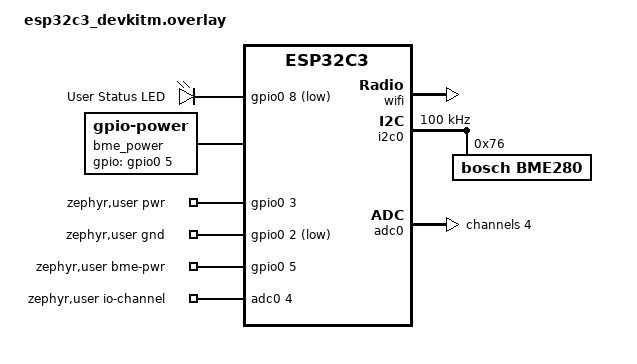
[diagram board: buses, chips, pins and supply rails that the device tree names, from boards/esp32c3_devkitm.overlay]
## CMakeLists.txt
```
cmake_minimum_required(VERSION 3.20.0)
set(CONF_FILE prj.conf ../lib/common.conf)

find_package(Zephyr REQUIRED HINTS $ENV{ZEPHYR_BASE})
project(esp32_wifi)


set(APP_SOURCES
    src/main.c
    src/moisture.c
    src/room.c
)

set(LIB_SOURCES
    ../lib/http_get.c
    ../lib/mqtt.c
    ../lib/ping.c
    ../lib/wifi.c
)

target_sources(app PRIVATE ${APP_SOURCES} ${LIB_SOURCES})
target_include_directories(app PRIVATE ../lib)

add_compile_options(-Wno-gcc-extension -Wno-extension)
```

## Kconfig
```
config WIFI_SSID
    string "WiFi SSID"
    default "your_ssid_here"
    help
        The SSID of the WiFi network to connect to.

config WIFI_PSK
    string "WiFi Password"
    default "your_password_here"
    help
        The password for the WiFi network.

config MQTT_SERVER_ADDR
    string "MQTT Server Address"
    default "192.168.178.30"
    help
        The IP address or hostname of the MQTT broker.

config MQTT_SERVER_PORT
    int "MQTT Server Port"
    default 1883
    help
        The port number of the MQTT broker.

config MQTT_CLIENT_ID
    string "MQTT Client ID"
    default "zephyr_publisher"
    help
        The client ID to use when connecting to the MQTT broker.

config MQTT_CONNECT_TIMEOUT_MS
    int "MQTT Connect Timeout (ms)"
    default 2000
    help
        Timeout in milliseconds for MQTT connection attempts.

config MQTT_CONNECT_TRIES
    int "MQTT Connect Tries"
    default 10
    help
        Number of connection attempts before giving up.

config MQTT_BUFFER_SIZE
    int "MQTT Buffer Size"
    default 128
    help
        Size of the MQTT RX and TX buffers in bytes.
    
config MOISTURE_SENSOR
    bool "Moisture Sensor"
    default y
    help
        Enable support for the moisture sensor.

config ROOM_SENSOR
    bool "Room Sensor"
    default y
    help
        Enable support for the room sensor. 

source "Kconfig.zephyr"
```

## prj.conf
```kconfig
CONFIG_MQTT_CLIENT_ID="SmartProbe1"
CONFIG_ADC=y

CONFIG_FLASH=y
CONFIG_FLASH_PAGE_LAYOUT=y
CONFIG_FLASH_MAP=y
CONFIG_NVS=y
CONFIG_MPU_ALLOW_FLASH_WRITE=y

CONFIG_I2C=y
CONFIG_SENSOR=y
CONFIG_BME280=y 
CONFIG_I2C_LOG_LEVEL_DBG=y

CONFIG_MOISTURE_SENSOR=y
CONFIG_ROOM_SENSOR=y
CONFIG_SENSOR_LOG_LEVEL_DBG=y

CONFIG_WIFI_SSID="GreenWall"
CONFIG_WIFI_PSK="83RatherMauspfad83DL"
```

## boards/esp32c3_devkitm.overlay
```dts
&wifi {
	status = "okay";
};

/ {
    aliases {
        led0 = &status_led;
        bme280 = &bme280;
        bmepwr = &bme_power;
    };

    leds {
        compatible = "gpio-leds";
        status_led: led_0 {
            /* GPIO8 is on the gpio0 controller */
            /* GPIO_ACTIVE_LOW matches your physical wiring (+3.3V source) */
            gpios = <&gpio0 8 GPIO_ACTIVE_LOW>;
            label = "User Status LED";
        };
    };

    bme_power: bme_power {
        compatible = "gpio-power";
        gpios = <&gpio0 5 GPIO_ACTIVE_HIGH>;
    };
};

&pinctrl {
    i2c0_default: i2c0_default {
        group1 {
            pinmux = <I2C0_SDA_GPIO10>,
                     <I2C0_SCL_GPIO7>;
            bias-pull-up;
            drive-open-drain;
            output-high;
        };
    };
};

&i2c0 {
    status = "okay";
    pinctrl-0 = <&i2c0_default>;
    clock-frequency = <I2C_BITRATE_STANDARD>;
    
    bme280: bme280@76 {
        compatible = "bosch,bme280";
        reg = <0x76>;  /* Or 0x77 depending on your module's SDO pin */
        status = "okay";
    };
};

/ {
    zephyr,user {
        /* IO4 (Pin 18) is ADC1 Channel 4 */
        io-channels = <&adc0 4>; 
        /* IO3 (Pin 6) for VCC control */
        pwr-gpios = <&gpio0 3 GPIO_ACTIVE_HIGH>;
        /* IO2 (Pin 5) for software GND */
        gnd-gpios = <&gpio0 2 GPIO_ACTIVE_LOW>; 

        bme-pwr-gpios = <&gpio0 5 GPIO_ACTIVE_HIGH>;
    };
};

/* Use SAR ADC1 (adc0) which is defined and factory calibrated */
&adc0 {
    status = "okay";
    #address-cells = <1>;
    #size-cells = <0>;

    channel@4 {
        reg = <4>; /* ADC1_CH4 on IO4 */
        zephyr,gain = "ADC_GAIN_1_4";      /* Range for 0-3.0V sensor output */
        zephyr,reference = "ADC_REF_INTERNAL";
        zephyr,acquisition-time = <ADC_ACQ_TIME_DEFAULT>;
        zephyr,resolution = <12>;
    };
};

&gpio0 {
    status = "okay";
};
```

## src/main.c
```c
#include <zephyr/kernel.h>
#include <zephyr/net/net_if.h>
#include <zephyr/net/wifi_mgmt.h>
#include <zephyr/net/net_event.h>
#include <errno.h>
#include <string.h>
#include "ping.h"
#include "wifi.h"
#include "mqtt.h"
#include <zephyr/sys/poweroff.h>
#include <esp_sleep.h>
#include "moisture.h"
#include "room.h"
#include "sensor_module.h"
#include <zephyr/logging/log.h>
#include <zephyr/pm/pm.h>
#include <zephyr/pm/device.h>
#include <zephyr/pm/policy.h>
#include <zephyr/drivers/gpio.h>

LOG_MODULE_REGISTER(main, LOG_LEVEL_INF);

#define LED_BLINK_DELAY_MS	500
#define MQTT_DISCONNECT_DELAY_MS	1000
#define DEEP_SLEEP_DURATION_SEC	60

static const struct gpio_dt_spec led = GPIO_DT_SPEC_GET(DT_ALIAS(led0), gpios);

const struct pm_state_info *pm_policy_next_state(uint8_t cpu, int32_t ticks)
{
    /* Returning NULL tells the kernel: "Do not enter any sleep state" */
    /* This keeps the CPU and WiFi radio fully powered. */
    return NULL;
}

void enter_deep_sleep(uint32_t seconds) {
    esp_sleep_enable_timer_wakeup(seconds * 1000000ULL);
    
    sys_poweroff();
    
    k_sleep(K_FOREVER);
}

int init_led(void) {
    if (!gpio_is_ready_dt(&led)) {
        return -ENODEV;
    }

    /* Configure as output, start in the logically INACTIVE state (LED OFF) */
    return gpio_pin_configure_dt(&led, GPIO_OUTPUT_INACTIVE);
}

void blink_led(int times, int delay_ms) {
    for (int i = 0; i < times; i++) {
        gpio_pin_toggle_dt(&led);
        k_msleep(delay_ms);
    }
}

static const struct sensor_module sensors[] = {
#ifdef CONFIG_MOISTURE_SENSOR
    {
        .key = "soil",
        .label = "Soil",
        .unit = "%",
        .init = moisture_init,
        .read = moisture_read_percent,
        .err_value = MOISTURE_ERROR_VALUE,
    },
#endif
#ifdef CONFIG_ROOM_SENSOR
    {
        .key = "temp",
        .label = "Temperature",
        .unit = "C°",
        .init = room_init,
        .read = room_read_temperature,
        .err_value = ROOM_ERROR_VALUE,
    },
    {
        .key = "press",
        .label = "Pressure",
        .unit = "kPa",
        .init = room_init,
        .read = room_read_pressure,
        .err_value = ROOM_ERROR_VALUE,
    },
    {
        .key = "hum",
        .label = "Humidity",
        .unit = "%",
        .init = room_init,
        .read = room_read_humidity,
        .err_value = ROOM_ERROR_VALUE,
    },
#endif
};

static int initialize_sensors(void)
{
    for (size_t i = 0; i < ARRAY_SIZE(sensors); i++) {
        if (sensors[i].init) {
            int err = sensors[i].init();
            if (err != 0) {
                LOG_ERR("Sensor %s init failed: %d", sensors[i].key, err);
                return err;
            }
        }
    }
    return 0;
}

static enum sensor_e sensor_key_to_enum(const char *key)
{
    if (strcmp(key, "soil") == 0) {
        return SENSOR_SOIL;
    }
    if (strcmp(key, "temp") == 0) {
        return SENSOR_TEMP;
    }
    if (strcmp(key, "press") == 0) {
        return SENSOR_PRESS;
    }
    if (strcmp(key, "hum") == 0) {
        return SENSOR_HUM;
    }

    return 0;
}

static void read_and_publish_sensors(void)
{
    for (size_t i = 0; i < ARRAY_SIZE(sensors); i++) {
        float value;
        int err = sensors[i].read(&value);
        if (err != 0 || value == sensors[i].err_value) {
            LOG_ERR("Failed to read %s sensor: %d", sensors[i].key, err);
            continue;
        }

        enum sensor_e sensor_id = sensor_key_to_enum(sensors[i].key);
        if (sensor_id == 0) {
            LOG_ERR("Unknown sensor key for MQTT publish: %s", sensors[i].key);
            continue;
        }

        if (mqtt_service_publish_sensor(sensor_id, value) != 0) {
            LOG_ERR("MQTT publish failed for %s", sensors[i].key);
            blink_led(4, 2000);
        }
    }
}

int main(void)
{
    pm_policy_state_lock_get(PM_STATE_SUSPEND_TO_IDLE, PM_ALL_SUBSTATES);
    pm_policy_state_lock_get(PM_STATE_STANDBY, PM_ALL_SUBSTATES);
    
    if (init_led() != 0) {
        LOG_ERR("Failed to init LED");
        goto cleanup;
    }

    if (wifi_init() != 0) {
        LOG_ERR("WiFi init failed");
        blink_led(10, LED_BLINK_DELAY_MS);
        goto cleanup;
    }

    if (wifi_connect() != 0) {
        LOG_ERR("WiFi connect failed");
        blink_led(10, LED_BLINK_DELAY_MS);
        goto cleanup;
    }

    if(wifi_wait_for_connect()) {
        LOG_ERR("Connection failed");
        blink_led(10, LED_BLINK_DELAY_MS);
        goto cleanup;
    }

    if (wifi_status() != 0) {
        LOG_ERR("WiFi status failed");
        blink_led(10, LED_BLINK_DELAY_MS);
        goto cleanup;
    }

    if (wifi_wait_for_ipv4()) {
        LOG_ERR("IPV4 failed");
        blink_led(10, LED_BLINK_DELAY_MS);
        goto cleanup;
    }
    LOG_INF("Ready...");

    ping("192.168.178.30", 4);

    if (mqtt_service_init() != 0) {
        LOG_ERR("MQTT init failed");
        blink_led(5, MQTT_DISCONNECT_DELAY_MS);
        goto cleanup;
    }

    if (mqtt_service_connect() != 0) {
        LOG_ERR("MQTT connect failed");
        blink_led(5, MQTT_DISCONNECT_DELAY_MS);
        goto cleanup;
    }

    if (initialize_sensors() != 0) {
        LOG_ERR("Sensor initialization failed");
        blink_led(5, MQTT_DISCONNECT_DELAY_MS);
        goto cleanup;
    }

    read_and_publish_sensors();

    k_sleep(K_SECONDS(1));
    mqtt_service_disconnect();
    wifi_disconnect();

cleanup:
    pm_policy_state_lock_put(PM_STATE_SUSPEND_TO_IDLE, PM_ALL_SUBSTATES);
    enter_deep_sleep(DEEP_SLEEP_DURATION_SEC);
    return 0;
}
```

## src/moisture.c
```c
#include <errno.h>
#include <zephyr/kernel.h>
#include <zephyr/logging/log.h>
LOG_MODULE_REGISTER(moisture, LOG_LEVEL_INF);
#include <zephyr/drivers/adc.h>
#include <zephyr/drivers/gpio.h>
#include <zephyr/drivers/flash.h>
#include <zephyr/storage/flash_map.h>
#include <zephyr/fs/nvs.h>
#include "moisture.h"

#define CALIBRATION_ID			1
#define MOISTURE_POWER_DELAY_MS		500
#define CALIBRATION_DELAY_SEC		10

/* Get references from the overlay */
static const struct gpio_dt_spec pwr_gpio = GPIO_DT_SPEC_GET(DT_PATH(zephyr_user), pwr_gpios);
static const struct gpio_dt_spec gnd_gpio = GPIO_DT_SPEC_GET(DT_PATH(zephyr_user), gnd_gpios);
static const struct adc_dt_spec adc_chan = ADC_DT_SPEC_GET_BY_IDX(DT_PATH(zephyr_user), 0);

struct persistent_data {
    int32_t cal_dry_raw;
    int32_t cal_wet_raw;
};

struct persistent_data rtc_data;

static struct nvs_fs fs;

void init_nvs(void) {
    int rc;
    struct flash_pages_info info;

    /* Define the flash partition to use (storage_partition is default on ESP32) */
    fs.flash_device = FIXED_PARTITION_DEVICE(storage_partition);
    if (!device_is_ready(fs.flash_device)) {
        LOG_ERR("Flash device not ready");
        return;
    }

    fs.offset = FIXED_PARTITION_OFFSET(storage_partition);
    rc = flash_get_page_info_by_offs(fs.flash_device, fs.offset, &info);
    if (rc) {
        LOG_ERR("Unable to get page info: %d", rc);
        return;
    }

    fs.sector_size = info.size;
    fs.sector_count = 3; // Use 3 sectors for wear leveling

    rc = nvs_mount(&fs);
    if (rc == -EEXIST) {
        return;
    }
    if (rc) {
        LOG_ERR("Flash init failed: %d", rc);
    }
}

void save_calibration(struct persistent_data *data) {
    nvs_write(&fs, CALIBRATION_ID, data, sizeof(struct persistent_data));
}

void load_calibration(struct persistent_data *data) {
    int rc = nvs_read(&fs, CALIBRATION_ID, data, sizeof(struct persistent_data));
    if (rc <= 0) {
        LOG_INF("No calibration found, setting defaults");
        data->cal_dry_raw = -1;
        data->cal_wet_raw = -1;
    } else {
        LOG_INF("Loaded: Dry=%d, Wet=%d", data->cal_dry_raw, data->cal_wet_raw);
    }
}

static int read_moisture(void) {
    int16_t buf;
    struct adc_sequence sequence = {
        .buffer = &buf,
        .buffer_size = sizeof(buf),
    };

    gpio_pin_set_dt(&pwr_gpio, 1);
    k_msleep(MOISTURE_POWER_DELAY_MS);

    adc_sequence_init_dt(&adc_chan, &sequence);
    int err = adc_read(adc_chan.dev, &sequence);
    
    gpio_pin_set_dt(&pwr_gpio, 0);

    if (err) { return err; }

    return (int)buf;
}

void moisture_calibrate(enum moisture_cal_type type) {
    int raw_val = read_moisture();
    
    if (raw_val < 0) {
        LOG_ERR("Failed to read sensor for calibration");
        return;
    }

    if (type == MOISTURE_CAL_DRY) {
        rtc_data.cal_dry_raw = raw_val;
    } else {
        rtc_data.cal_wet_raw = raw_val;
    }
}

int moisture_read_percent(float *value) {
    int raw = read_moisture();
    if (raw < 0) {
        return raw;
    }

    if (rtc_data.cal_dry_raw == -1 || rtc_data.cal_wet_raw == -1) {
        LOG_WRN("Missing calibration. Set both DRY and WET points.");
        return -EIO;
    }

    if (raw > rtc_data.cal_dry_raw || raw < rtc_data.cal_wet_raw) {
        LOG_WRN("Measured raw value %d is outside calibration range [%d, %d]",
                raw, rtc_data.cal_wet_raw, rtc_data.cal_dry_raw);
    }

    int32_t range = rtc_data.cal_dry_raw - rtc_data.cal_wet_raw;
    if (range <= 0) {
        LOG_ERR("Invalid calibration range: Dry must be > Wet");
        return -EINVAL;
    }

    int32_t percentage = ((rtc_data.cal_dry_raw - raw) * 100) / range;

    if (percentage < 0) {
        percentage = 0;
        LOG_WRN("Measured value is below min value: %d, Measured: %d, Dry: %d, Wet: %d",
                percentage, raw, rtc_data.cal_dry_raw, rtc_data.cal_wet_raw);
    }
    if (percentage > 100) {
        percentage = 100;
        LOG_WRN("Measured value is above max value: %d, Measured: %d, Dry: %d, Wet: %d",
                percentage, raw, rtc_data.cal_dry_raw, rtc_data.cal_wet_raw);
    }

    *value = (float)percentage;
    return 0;
}

int moisture_init(void) {
    gpio_pin_configure_dt(&gnd_gpio, GPIO_OUTPUT_ACTIVE);
    gpio_pin_configure_dt(&pwr_gpio, GPIO_OUTPUT_INACTIVE);

    gpio_pin_set_dt(&pwr_gpio, 1);

    if (!device_is_ready(adc_chan.dev)) {
        LOG_ERR("ADC device not ready");
        return -1;
    }

    int err = adc_channel_setup_dt(&adc_chan);
    if (err) {
        LOG_ERR("Failed to setup ADC channel (err %d)", err);
        return -1;
    }

    init_nvs();
    load_calibration(&rtc_data);

    if (rtc_data.cal_dry_raw == -1 || rtc_data.cal_wet_raw == -1) {
        LOG_INF("No valid calibration found. Starting calibration. Dry in %d seconds", CALIBRATION_DELAY_SEC);
        k_sleep(K_SECONDS(CALIBRATION_DELAY_SEC));
        moisture_calibrate(MOISTURE_CAL_DRY);
        LOG_INF("No valid calibration found. Starting calibration. Wet in %d seconds", CALIBRATION_DELAY_SEC);
        k_sleep(K_SECONDS(CALIBRATION_DELAY_SEC));
        moisture_calibrate(MOISTURE_CAL_WET);
        save_calibration(&rtc_data);
    }

    return 0;
}
```

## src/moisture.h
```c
enum moisture_cal_type {
    MOISTURE_CAL_DRY,
    MOISTURE_CAL_WET
};

#define MOISTURE_ERROR_VALUE -1

void moisture_calibrate(enum moisture_cal_type type);
int moisture_read_percent(float *value);
int moisture_init(void);
```

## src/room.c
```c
#include <zephyr/kernel.h>
#include <zephyr/device.h>
#include <zephyr/drivers/gpio.h>
#include <zephyr/drivers/sensor.h>
#include <zephyr/drivers/sensor_data_types.h>
#include <zephyr/logging/log.h>

#include "room.h"

LOG_MODULE_REGISTER(room, LOG_LEVEL_INF);

static const struct gpio_dt_spec bmepwr = GPIO_DT_SPEC_GET(DT_PATH(zephyr_user), bme_pwr_gpios);
static const struct device *const dev = DEVICE_DT_GET(DT_ALIAS(bme280));
static bool initialized;

static int fetch_sensor_channel(enum sensor_channel chan, float *value)
{
    if (dev == NULL) {
        LOG_ERR("No BME280 device found in devicetree");
        return -ENODEV;
    }

    if (!device_is_ready(dev)) {
        LOG_ERR("BME280 device %s is not ready", dev->name);
        return -ENODEV;
    }

    struct sensor_value sensor_val;

    int ret = sensor_sample_fetch(dev);
    if (ret < 0) {
        LOG_ERR("sensor_sample_fetch failed: %d", ret);
        return ret;
    }

    ret = sensor_channel_get(dev, chan, &sensor_val);
    if (ret < 0) {
        LOG_ERR("sensor_channel_get for channel %d failed: %d", chan, ret);
        return ret;
    }

    *value = (float)sensor_val.val1 + (float)sensor_val.val2 / 1000000.0f;
    return 0;
}

int room_init(void)
{
    if (initialized) {
        return 0;
    }

    if (!device_is_ready(bmepwr.port)) {
        LOG_ERR("BME280 power GPIO not ready");
        return -ENODEV;
    }

    if (!device_is_ready(dev)) {
        LOG_ERR("BME280 device not ready");
        return -ENODEV;
    }

    int err = gpio_pin_configure_dt(&bmepwr, GPIO_OUTPUT_INACTIVE);
    if (err) {
        LOG_ERR("Failed to configure BME280 power GPIO: %d", err);
        return err;
    }

    gpio_pin_set_dt(&bmepwr, 1);
    initialized = true;
    return 0;
}

int room_read_temperature(float *value)
{
    return fetch_sensor_channel(SENSOR_CHAN_AMBIENT_TEMP, value);
}

int room_read_pressure(float *value)
{
    return fetch_sensor_channel(SENSOR_CHAN_PRESS, value);
}

int room_read_humidity(float *value)
{
    return fetch_sensor_channel(SENSOR_CHAN_HUMIDITY, value);
}
```

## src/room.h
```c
#include <zephyr/drivers/sensor.h>

#define ROOM_ERROR_VALUE -999.0f
int room_init(void);
int room_read_temperature(float *value);
int room_read_pressure(float *value);
int room_read_humidity(float *value);
```

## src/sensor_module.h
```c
#ifndef SENSOR_MODULE_H
#define SENSOR_MODULE_H

#ifdef __cplusplus
extern "C" {
#endif

struct sensor_module {
    const char *key;
    const char *label;
    const char *unit;
    int (*init)(void);
    int (*read)(float *value);
    float err_value;
};

#ifdef __cplusplus
}
#endif

#endif /* SENSOR_MODULE_H */
```
